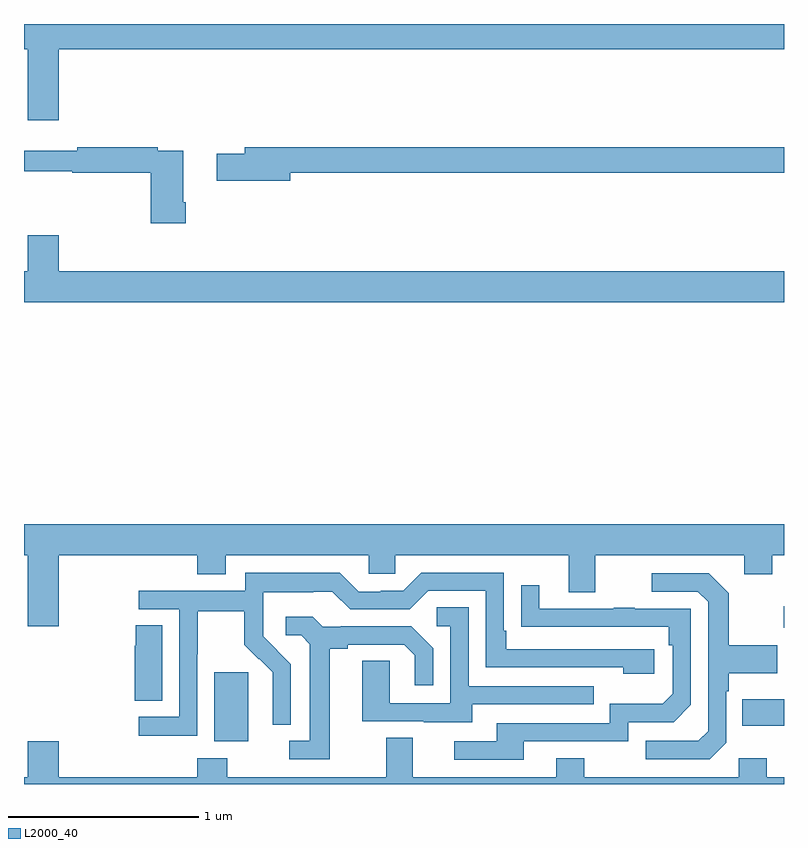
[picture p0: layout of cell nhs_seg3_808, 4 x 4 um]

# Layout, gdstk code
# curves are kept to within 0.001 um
import gdstk
lib = gdstk.Library(unit=1e-6, precision=1e-09)
def R(c, l, rs):  # rectangles x0, y0, x1, y1
    for r in rs: c.add(gdstk.rectangle(r[:2], r[2:], *l))
def P(c, l, *ps):  # polygons
    for p in ps: c.add(gdstk.Polygon(p, *l))
L2000_40 = (2000, 40)

nhs_seg3_808 = lib.new_cell('nhs_seg3_808')
R(nhs_seg3_808, L2000_40, [(154.001,678.626,154.18,678.987), (156.781,678.707,157,678.847), (156.999,679.223,157,679.336)])
P(nhs_seg3_808, L2000_40, [(153.184,682.268),(157,682.268),(157,682.4),(153,682.4),(153,682.268),(153.02,682.268),(153.02,681.894),(153.184,681.894)],
  [(154.402,681.616),(157,681.616),(157,681.752),(154.163,681.752),(154.163,681.716),(154.014,681.716),(154.014,681.574),(154.402,681.574)],
  [(153.851,681.463),(153.838,681.463),(153.838,681.732),(153.704,681.732),(153.704,681.752),(153.28,681.752),(153.28,681.733),(153,681.733),(153,681.624),(153.255,681.624),(153.255,681.616),(153.668,681.616),(153.668,681.351),(153.851,681.351)],
  [(157,681.1),(153.184,681.1),(153.184,681.289),(153.02,681.289),(153.02,681.1),(153,681.1),(153,680.936),(157,680.936)],
  [(153.184,679.604),(153.911,679.604),(153.911,679.505),(154.063,679.505),(154.063,679.604),(154.815,679.604),(154.815,679.506),(154.953,679.506),(154.953,679.604),(155.867,679.604),(155.867,679.41),(156.007,679.41),(156.007,679.604),(156.791,679.604),(156.791,679.505),(156.939,679.505),(156.939,679.604),(157,679.604),(157,679.768),(153,679.768),(153,679.604),(153.02,679.604),(153.02,679.23),(153.184,679.23)],
  [(153.912,679.084),(153.915,679.084),(153.915,679.308),(154.159,679.308),(154.159,679.133),(154.236,679.056),(154.239,679.059),(154.31,678.989),(154.31,678.866),(154.308,678.866),(154.308,678.712),(154.404,678.712),(154.404,679.03),(154.258,679.178),(154.258,679.275),(154.26,679.275),(154.26,679.409),(154.523,679.409),(154.523,679.413),(154.623,679.413),(154.716,679.32),(155.031,679.32),(155.127,679.416),(155.43,679.416),(155.43,679.014),(156.155,679.014),(156.155,678.98),(156.316,678.98),(156.316,679.11),(155.539,679.11),(155.539,679.207),(155.526,679.207),(155.526,679.512),(155.091,679.512),(154.995,679.416),(154.877,679.416),(154.877,679.413),(154.761,679.413),(154.661,679.513),(154.164,679.513),(154.164,679.416),(153.603,679.416),(153.603,679.32),(153.816,679.32),(153.816,678.753),(153.603,678.753),(153.603,678.655),(153.912,678.655)],
  [(156.696,678.618),(156.696,678.887),(156.709,678.887),(156.709,678.983),(156.965,678.983),(156.965,679.131),(156.709,679.131),(156.709,679.403),(156.603,679.509),(156.303,679.509),(156.303,679.413),(156.546,679.413),(156.6,679.359),(156.6,678.678),(156.549,678.627),(156.273,678.627),(156.273,678.531),(156.609,678.531)],
  [(155.629,678.624),(156.18,678.624),(156.18,678.726),(156.42,678.726),(156.51,678.816),(156.51,679.323),(156.215,679.323),(156.215,679.328),(156.103,679.328),(156.103,679.323),(155.713,679.323),(155.713,679.447),(155.617,679.447),(155.617,679.228),(156.394,679.227),(156.394,679.13),(156.414,679.13),(156.414,678.876),(156.361,678.823),(156.084,678.823),(156.084,678.72),(155.489,678.72),(155.489,678.624),(155.265,678.624),(155.265,678.528),(155.629,678.528)],
  [(155.359,678.819),(155.999,678.819),(155.999,678.915),(155.34,678.915),(155.34,679.331),(155.172,679.331),(155.172,679.23),(155.244,679.23),(155.244,678.825),(154.926,678.825),(154.926,679.049),(154.781,679.049),(154.781,678.729),(155.105,678.729),(155.105,678.725),(155.359,678.725)],
  [(154.609,679.112),(154.705,679.112),(154.705,679.134),(155,679.134),(155.057,679.077),(155.057,678.921),(155.154,678.921),(155.154,679.114),(155.038,679.23),(154.666,679.23),(154.666,679.227),(154.572,679.227),(154.52,679.279),(154.377,679.279),(154.377,679.182),(154.458,679.182),(154.505,679.135),(154.505,678.627),(154.395,678.627),(154.395,678.531),(154.609,678.531)],
  [(153.727,679.235),(153.589,679.235),(153.589,679.127),(153.584,679.127),(153.584,678.838),(153.727,678.838)],
  [(157,678.436),(156.909,678.436),(156.909,678.535),(156.762,678.535),(156.762,678.436),(155.949,678.436),(155.949,678.535),(155.801,678.535),(155.801,678.436),(155.047,678.436),(155.047,678.644),(154.907,678.644),(154.907,678.436),(154.071,678.436),(154.071,678.535),(153.911,678.535),(153.911,678.436),(153.184,678.436),(153.184,678.625),(153.02,678.625),(153.02,678.436),(153,678.436),(153,678.4),(157,678.4)])

lib.write_gds('nhs_seg3_808.gds')
